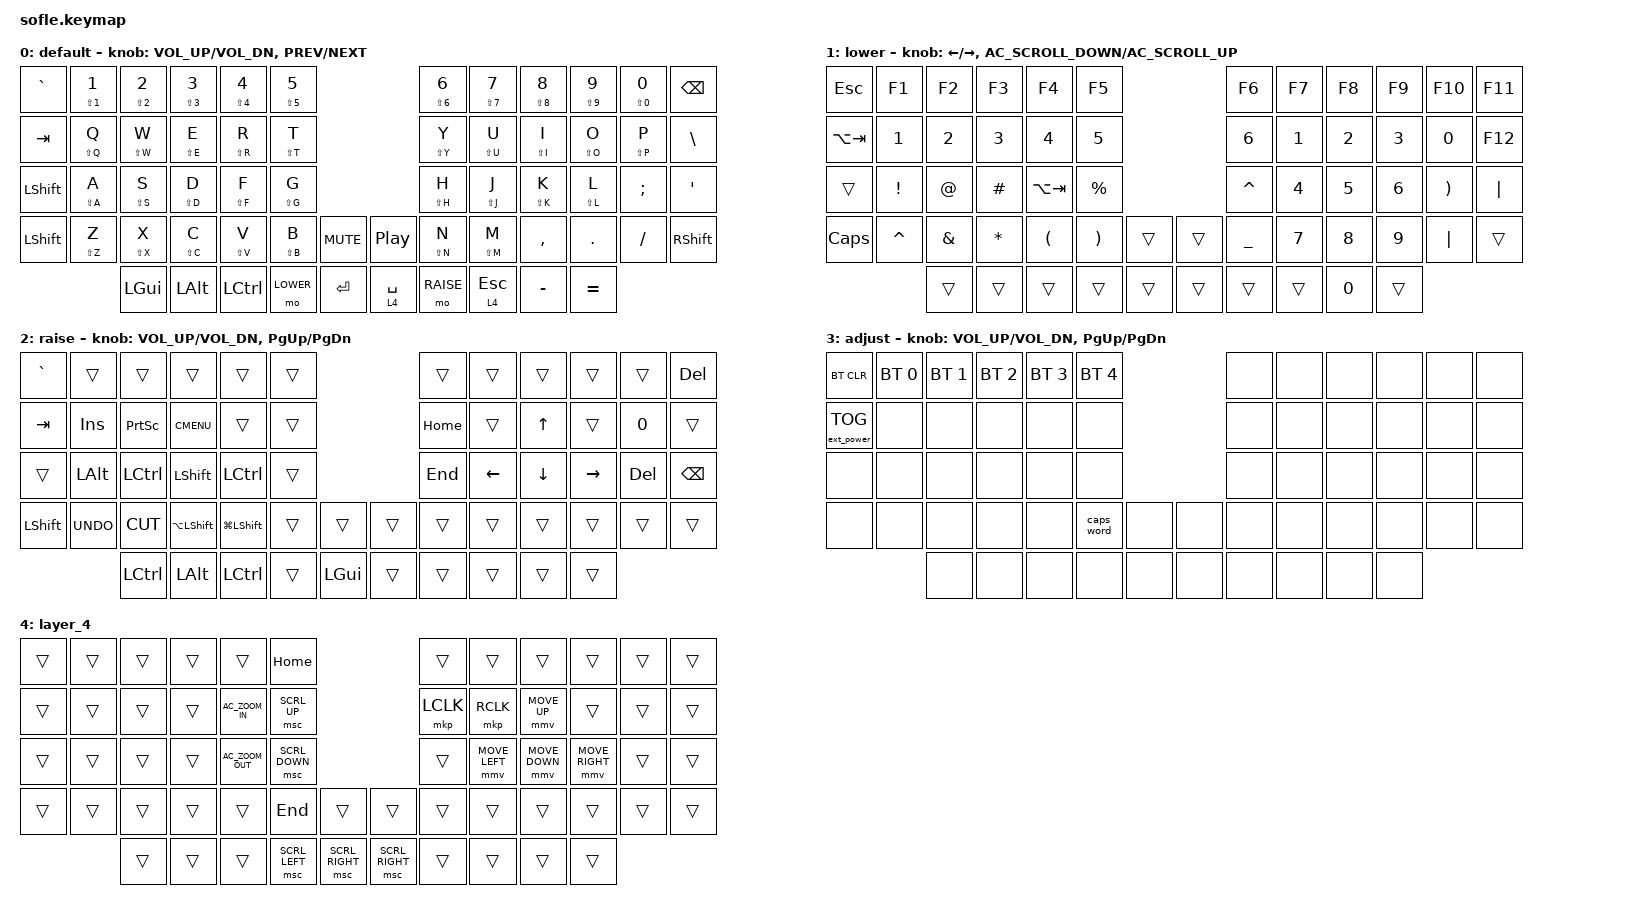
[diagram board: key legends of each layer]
/*
 * Copyright (c) 2020 The ZMK Contributors
 *
 * SPDX-License-Identifier: MIT
 */

#include <behaviors.dtsi>
#include <dt-bindings/zmk/bt.h>
#include <dt-bindings/zmk/ext_power.h>
#include <dt-bindings/zmk/keys.h>
#include <dt-bindings/zmk/pointing.h>

#define BASE 0
#define LOWER 1
#define RAISE 2
#define ADJUST 3

&mmv {
    acceleration-exponent = <2>;
    time-to-max-speed-ms = <1000>;
};

/ {
    // Activate ADJUST layer by pressing raise and lower

    conditional_layers {
        compatible = "zmk,conditional-layers";

        adjust_layer {
            if-layers = <LOWER RAISE>;
            then-layer = <ADJUST>;
        };
    };

    combos {
        compatible = "zmk,combos";

        backspace {
            bindings = <&kp BACKSPACE>;
            key-positions = <32 31>;
        };

        RightBracket {
            bindings = <&kp RBKT>;
            key-positions = <10 11>;
        };

        LeftBracket {
            bindings = <&kp LBKT>;
            key-positions = <9 8>;
        };

        Pluus {
            bindings = <&kp EQUAL>;
            key-positions = <22 23>;
        };

        other_bs {
            bindings = <&kp BACKSPACE>;
            key-positions = <30 31>;
        };

        SafeEnter {
            bindings = <&kp ENTER>;
            key-positions = <49 48>;
        };

        homerowEnter {
            bindings = <&kp ENTER>;
            key-positions = <32 33>;
        };

        anotherBackspace {
            bindings = <&kp BACKSPACE>;
            key-positions = <27 28>;
        };
    };

    behaviors {
        caps: caps {
            compatible = "zmk,behavior-caps-word";
            label = "CAPS";
            #binding-cells = <0>;
            continue-list = <POUND MINUS BACKSPACE UNDERSCORE>;
        };

        hold_tap: hold_tap {
            compatible = "zmk,behavior-hold-tap";
            label = "HOLD_TAP";
            bindings = <&kp>, <&kp>;

            #binding-cells = <2>;
            tapping-term-ms = <250>;
            flavor = "tap-preferred";
        };
    };

    keymap {
        compatible = "zmk,keymap";

        default_layer {
            display-name = "default";

            // ------------------------------------------------------------------------------------------------------------
            // |   `   |  1  |  2  |  3   |  4   |  5   |                   |  6   |  7    |  8    |  9   |   0   |       |
            // |  ESC  |  Q  |  W  |  E   |  R   |  T   |                   |  Y   |  U    |  I    |  O   |   P   | BKSPC |
            // |  TAB  |  A  |  S  |  D   |  F   |  G   |                   |  H   |  J    |  K    |  L   |   ;   |   '   |
            // | SHIFT |  Z  |  X  |  C   |  V   |  B   |  MUTE  |  |       |  N   |  M    |  ,    |  .   |   /   | SHIFT |
            //               | GUI | ALT  | CTRL | LOWER|  ENTER |  | SPACE | RAISE| CTRL  | ALT   | GUI  |

            bindings = <
&kp GRAVE       &hold_tap LS(N1) N1  &hold_tap LS(N2) N2  &hold_tap LS(N3) N3  &hold_tap LS(N4) N4  &hold_tap LS(N5) N5                                  &hold_tap LS(N6) N6  &hold_tap LS(N7) N7  &hold_tap LS(N8) N8  &hold_tap LS(N9) N9  &hold_tap LS(N0) N0  &kp BACKSPACE
&kp TAB         &hold_tap LS(Q) Q    &hold_tap LS(W) W    &hold_tap LS(E) E    &hold_tap LS(R) R    &hold_tap LS(T) T                                    &hold_tap LS(Y) Y    &hold_tap LS(U) U    &hold_tap LS(I) I    &hold_tap LS(O) O    &hold_tap LS(P) P    &kp BSLH
&kp LEFT_SHIFT  &hold_tap LS(A) A    &hold_tap LS(S) S    &hold_tap LS(D) D    &hold_tap LS(F) F    &hold_tap LS(G) G                                    &hold_tap LS(H) H    &hold_tap LS(J) J    &hold_tap LS(K) K    &hold_tap LS(L) L    &kp SEMI             &kp SQT
&kp LEFT_SHIFT  &hold_tap LS(Z) Z    &hold_tap LS(X) X    &hold_tap LS(C) C    &hold_tap LS(V) V    &hold_tap LS(B) B    &kp C_MUTE    &kp C_PLAY_PAUSE  &hold_tap LS(N) N    &hold_tap LS(M) M    &kp COMMA            &kp DOT              &kp FSLH             &kp RIGHT_SHIFT
                                     &kp LEFT_GUI         &kp LALT             &kp LEFT_CONTROL     &mo LOWER            &kp ENTER     &lt 4 SPACE       &mo RAISE            &lt 4 ESC            &kp MINUS            &kp EQUAL
            >;

            sensor-bindings =
                <&inc_dec_kp C_VOL_UP C_VOL_DN>,
                <&inc_dec_kp C_PREV C_NEXT>;
        };

        lower_layer {
            display-name = "lower";

            // TODO: Some binds are waiting for shifted keycode support.
            // ------------------------------------------------------------------------------------------------------------
            // |       |  F1 |  F2 |  F3  |  F4  |  F5  |                   |  F6  |  F7   |  F8   |  F9  |  F10  |  F11  |
            // |   `   |  1  |  2  |  3   |  4   |  5   |                   |  6   |  7    |  8    |  9   |   0   |  F12  |
            // |       |  !  |  @  |  #   |  $   |  %   |                   |  ^   |  &    |  *    |  (   |   )   |   |   |
            // |       |  =  |  -  |  +   |  {   |  }   |        |  |       |  [   |  ]    |  ;    |  :   |   \   |       |
            //               |     |      |      |      |        |  |       |      |       |       |      |

            bindings = <
&kp ESC       &kp F1     &kp F2         &kp F3        &kp F4                &kp F5                                   &kp F6          &kp F7  &kp F8        &kp F9        &kp F10                &kp F11
&kp LA(TAB)   &kp N1     &kp N2         &kp N3        &kp N4                &kp N5                                   &kp NUMBER_6    &kp N1  &kp N2        &kp N3        &kp N0                 &kp F12
&trans        &kp EXCL   &kp AT         &kp HASH      &kp LA(TAB)           &kp PRCNT                                &kp CARET       &kp N4  &kp NUMBER_5  &kp NUMBER_6  &kp RIGHT_PARENTHESIS  &kp PIPE
&kp CAPSLOCK  &kp CARET  &kp AMPERSAND  &kp ASTERISK  &kp LEFT_PARENTHESIS  &kp RIGHT_PARENTHESIS  &trans    &trans  &kp UNDERSCORE  &kp N7  &kp N8        &kp N9        &kp PIPE               &trans
                         &trans         &trans        &trans                &trans                 &trans    &trans  &trans          &trans  &kp NUMBER_0  &trans
            >;

            sensor-bindings =
                <&inc_dec_kp LEFT_ARROW RIGHT_ARROW>,
                <&inc_dec_kp C_AC_SCROLL_DOWN C_AC_SCROLL_UP>;
        };

        raise_layer {
            display-name = "raise";

            // ------------------------------------------------------------------------------------------------------------
            // | BTCLR | BT1  | BT2  |  BT3  |  BT4  |  BT5 |                |      |      |       |      |       |       |
            // |       | INS  | PSCR | GUI   |       |      |                | PGUP |      |   ^   |      |       |       |
            // |       | ALT  | CTRL | SHIFT |       | CAPS |                | PGDN |   <- |   v   |  ->  |  DEL  | BKSPC |
            // |       | UNDO | CUT  | COPY  | PASTE |      |      |  |      |      |      |       |      |       |       |
            //                |      |       |       |      |      |  |      |      |      |       |      |

            bindings = <
&kp GRAVE       &trans      &trans            &trans              &trans              &trans                          &trans    &trans    &trans    &trans     &trans   &kp DEL
&kp TAB         &kp INS     &kp PSCRN         &kp K_CMENU         &trans              &trans                          &kp HOME  &trans    &kp UP    &trans     &kp N0   &trans
&trans          &kp LALT    &kp LCTRL         &kp LSHFT           &kp LEFT_CONTROL    &trans                          &kp END   &kp LEFT  &kp DOWN  &kp RIGHT  &kp DEL  &kp BSPC
&kp LEFT_SHIFT  &kp K_UNDO  &kp K_CUT         &kp LA(LEFT_SHIFT)  &kp LG(LEFT_SHIFT)  &trans  &trans          &trans  &trans    &trans    &trans    &trans     &trans   &trans
                            &kp LEFT_CONTROL  &kp LEFT_ALT        &kp LEFT_CONTROL    &trans  &kp LEFT_GUI    &trans  &trans    &trans    &trans    &trans
            >;

            sensor-bindings = <&inc_dec_kp C_VOL_UP C_VOL_DN &inc_dec_kp PG_UP PG_DN>;
        };

        adjust_layer {
            // ----------------------------------------------------------------------------------------------------------------------------
            // | BTCLR  |  BT1    |  BT2    |   BT3   |   BT4   |   BT5   |                  |      |      |       |      |       |       |
            // | EXTPWR | RGB_HUD | RGB_HUI | RGB_SAD | RGB_SAI | RGB_EFF |                  |      |      |       |      |       |       |
            // |        | RGB_BRD | RGB_BRI |         |         |         |                  |      |      |       |      |       |       |
            // |        |         |         |         |         |         | RGB_TOG | |      |      |      |       |      |       |       |
            //                    |         |         |         |         |         | |      |      |      |       |      |

            display-name = "adjust";
            bindings = <
&bt BT_CLR         &bt BT_SEL 0  &bt BT_SEL 1  &bt BT_SEL 2  &bt BT_SEL 3  &bt BT_SEL 4                  &none  &none  &none  &none  &none  &none
&ext_power EP_TOG  &none         &none         &none         &none         &none                         &none  &none  &none  &none  &none  &none
&none              &none         &none         &none         &none         &none                         &none  &none  &none  &none  &none  &none
&none              &none         &none         &none         &none         &caps_word    &none    &none  &none  &none  &none  &none  &none  &none
                                 &none         &none         &none         &none         &none    &none  &none  &none  &none  &none
            >;

            sensor-bindings = <&inc_dec_kp C_VOL_UP C_VOL_DN &inc_dec_kp PG_UP PG_DN>;
        };

        layer_4 {
            bindings = <
&trans  &trans  &trans  &trans  &trans             &kp HOME                                            &trans     &trans          &trans          &trans           &trans  &trans
&trans  &trans  &trans  &trans  &kp C_AC_ZOOM_IN   &msc SCRL_UP                                        &mkp LCLK  &mkp RCLK       &mmv MOVE_UP    &trans           &trans  &trans
&trans  &trans  &trans  &trans  &kp C_AC_ZOOM_OUT  &msc SCRL_DOWN                                      &trans     &mmv MOVE_LEFT  &mmv MOVE_DOWN  &mmv MOVE_RIGHT  &trans  &trans
&trans  &trans  &trans  &trans  &trans             &kp END         &trans             &trans           &trans     &trans          &trans          &trans           &trans  &trans
                &trans  &trans  &trans             &msc SCRL_LEFT  &msc SCRL_RIGHT    &msc SCRL_RIGHT  &trans     &trans          &trans          &trans
            >;
        };
    };
};
